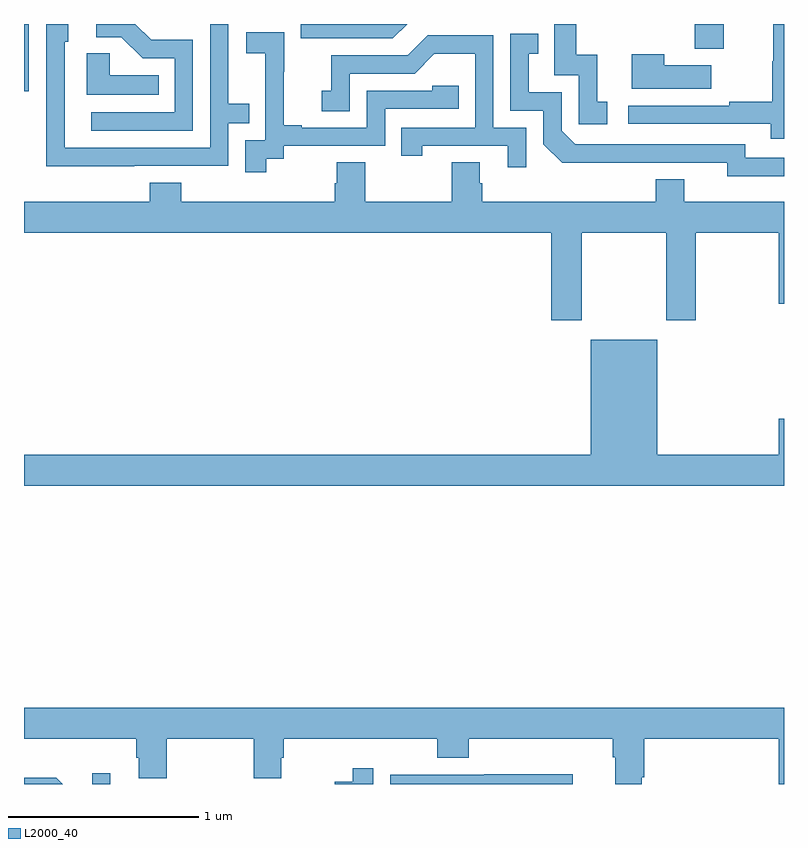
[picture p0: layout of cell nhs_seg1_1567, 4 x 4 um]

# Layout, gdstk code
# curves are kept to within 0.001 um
import gdstk
lib = gdstk.Library(unit=1e-6, precision=1e-09)
def R(c, l, rs):  # rectangles x0, y0, x1, y1
    for r in rs: c.add(gdstk.rectangle(r[:2], r[2:], *l))
def P(c, l, *ps):  # polygons
    for p in ps: c.add(gdstk.Polygon(p, *l))
L2000_40 = (2000, 40)

nhs_seg1_1567 = lib.new_cell('nhs_seg1_1567')
R(nhs_seg1_1567, L2000_40, [(197.358,514.199,197.455,514.255), (197,517.845,197.025,518.199), (200.531,518.07,200.683,518.199)])
P(nhs_seg1_1567, L2000_40, [(200.071,517.791),(200.018,517.791),(200.018,518.038),(199.907,518.038),(199.907,518.199),(199.791,518.199),(199.791,517.929),(199.92,517.929),(199.92,517.671),(200.071,517.671)],
  [(197.889,518.115),(197.67,518.115),(197.586,518.199),(197.379,518.199),(197.379,518.13),(197.513,518.13),(197.624,518.019),(197.793,518.019),(197.793,517.734),(197.355,517.734),(197.355,517.638),(197.889,517.638)],
  [(199.017,518.199),(198.456,518.199),(198.456,518.124),(198.942,518.124)],
  [(197.579,517.452),(198.075,517.452),(198.075,517.677),(198.185,517.677),(198.185,517.778),(198.075,517.778),(198.075,518.199),(197.979,518.199),(197.979,517.548),(197.214,517.548),(197.214,518.106),(197.233,518.106),(197.233,518.199),(197.118,518.199),(197.118,517.757),(197.116,517.757),(197.116,517.451),(197.579,517.451)],
  [(201,518.199),(200.944,518.199),(200.944,518.004),(200.937,518.004),(200.937,517.79),(200.713,517.79),(200.713,517.77),(200.181,517.77),(200.181,517.674),(200.929,517.674),(200.929,517.596),(201,517.596)],
  [(198.274,517.489),(198.366,517.489),(198.366,517.557),(198.9,517.557),(198.9,517.752),(199.289,517.752),(199.289,517.875),(199.149,517.875),(199.149,517.848),(198.804,517.848),(198.804,517.653),(198.463,517.653),(198.463,517.666),(198.368,517.666),(198.368,517.949),(198.369,517.949),(198.369,518.155),(198.171,518.155),(198.171,518.045),(198.269,518.045),(198.269,517.817),(198.27,517.817),(198.27,517.587),(198.165,517.587),(198.165,517.419),(198.274,517.419)],
  [(201,517.494),(200.796,517.494),(200.796,517.566),(199.902,517.566),(199.83,517.638),(199.83,517.839),(199.657,517.839),(199.657,518.043),(199.706,518.043),(199.706,518.149),(199.56,518.149),(199.56,517.743),(199.734,517.743),(199.734,517.566),(199.832,517.469),(200.7,517.47),(200.7,517.397),(201,517.397)],
  [(199.644,517.653),(199.47,517.653),(199.47,518.139),(199.124,518.139),(199.019,518.034),(198.616,518.034),(198.616,517.849),(198.567,517.849),(198.567,517.74),(198.714,517.74),(198.714,517.938),(199.056,517.938),(199.16,518.042),(199.374,518.042),(199.374,517.653),(198.985,517.653),(198.985,517.506),(199.096,517.506),(199.096,517.557),(199.547,517.557),(199.547,517.446),(199.644,517.446)],
  [(197.708,517.93),(197.451,517.93),(197.451,518.045),(197.33,518.045),(197.33,517.826),(197.708,517.826)],
  [(200.617,517.981),(200.369,517.981),(200.369,518.041),(200.198,518.041),(200.198,517.859),(200.617,517.859)],
  [(199.935,517.1),(200.38,517.1),(200.38,516.639),(200.535,516.639),(200.535,517.1),(200.972,517.1),(200.972,516.726),(201,516.726),(201,517.264),(200.476,517.264),(200.476,517.381),(200.324,517.381),(200.324,517.264),(199.412,517.264),(199.412,517.362),(199.399,517.362),(199.399,517.472),(199.252,517.472),(199.252,517.264),(198.795,517.264),(198.795,517.472),(198.647,517.472),(198.647,517.362),(198.635,517.362),(198.635,517.264),(197.828,517.264),(197.828,517.363),(197.663,517.363),(197.663,517.264),(197,517.264),(197,517.1),(199.775,517.1),(199.775,516.639),(199.935,516.639)],
  [(201,516.121),(200.972,516.121),(200.972,515.932),(200.332,515.932),(200.332,516.538),(199.982,516.538),(199.982,515.932),(197,515.932),(197,515.768),(201,515.768)],
  [(200.251,514.234),(200.264,514.234),(200.264,514.436),(200.972,514.436),(200.972,514.199),(201,514.199),(201,514.6),(197,514.6),(197,514.436),(197.591,514.436),(197.591,514.338),(197.603,514.338),(197.603,514.228),(197.751,514.228),(197.751,514.436),(198.208,514.436),(198.208,514.228),(198.355,514.228),(198.355,514.338),(198.368,514.338),(198.368,514.436),(199.175,514.436),(199.175,514.337),(199.34,514.337),(199.34,514.436),(200.099,514.436),(200.099,514.34),(200.111,514.34),(200.111,514.199),(200.251,514.199)],
  [(198.837,514.282),(198.729,514.282),(198.729,514.212),(198.636,514.212),(198.636,514.199),(198.837,514.199)],
  [(199.887,514.25),(199.423,514.25),(199.423,514.248),(198.927,514.248),(198.927,514.199),(199.887,514.199)],
  [(197.17,514.232),(197,514.232),(197,514.199),(197.203,514.199)])

lib.write_gds('nhs_seg1_1567.gds')
